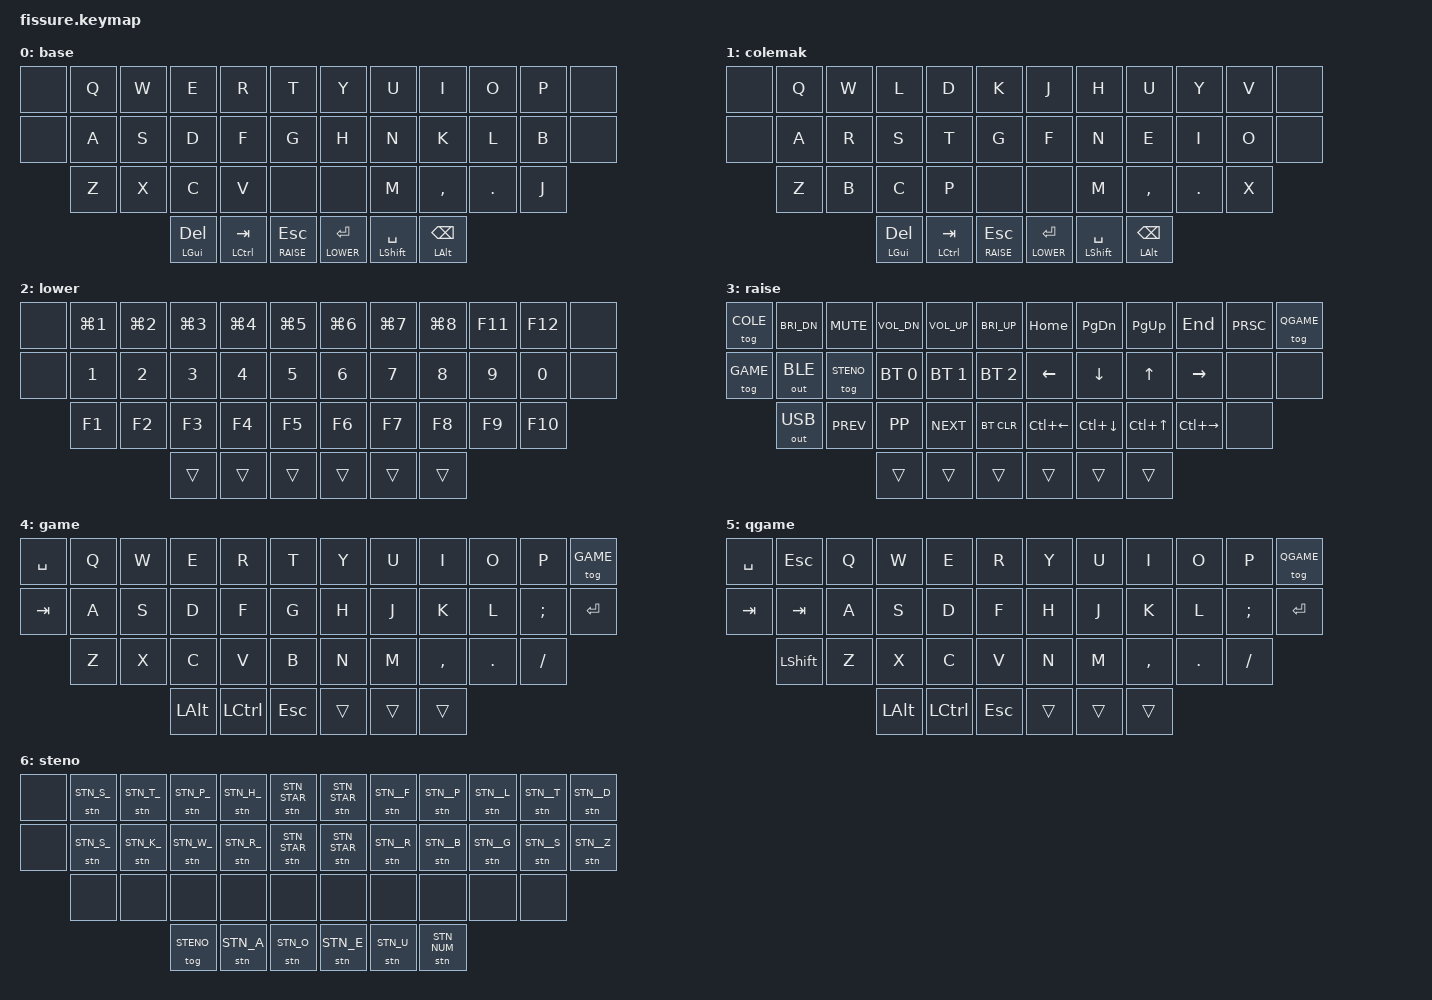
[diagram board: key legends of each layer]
/*
 * Copyright (c) 2020 The ZMK Contributors
 *
 * SPDX-License-Identifier: MIT
 */

#include <behaviors.dtsi>
#include <dt-bindings/zmk/keys.h>
#include <dt-bindings/zmk/modifiers.h>
#include <dt-bindings/zmk/bt.h>
#include <dt-bindings/zmk/outputs.h>
#include "../steno/impl/zmk/steno_keys.h"

/ {
    behaviors {
        // My Modtap
		mm: behavior_mod_tap {
			compatible = "zmk,behavior-hold-tap";
			label = "MOD_TAP";
			#binding-cells = <2>;
			flavor = "balanced";
			tapping-term-ms = <150>;
			bindings = <&kp>, <&kp>;
		};
        // My Layertap
		ml: behavior_layer_tap {
			compatible = "zmk,behavior-hold-tap";
			label = "LAYER_TAP";
			#binding-cells = <2>;
			flavor = "hold-preferred";
			tapping-term-ms = <150>;
			bindings = <&mo>, <&kp>;
		};
    };
    combos {
        compatible = "zmk,combos";
#define CONCAT2(x, y) x ## y
#define CONCAT(x, y) CONCAT2(x, y)
#define COMBO(pos, k) CONCAT(combo, __COUNTER__) { key-positions = <pos>; bindings = <&kp k>; layers = <0 1 2 3 4>; timeout-ms = <60>; };
        COMBO(1 2, PERCENT)
        COMBO(2 3, BSLH)
        COMBO(3 4, LBKT)
        COMBO(7 8, RBKT)
        COMBO(8 9, EQUAL)
        COMBO(9 10, PLUS)

        COMBO(13 14, CARET)
        COMBO(14 15, DOLLAR)
        COMBO(15 16, LPAR)
        COMBO(19 20, RPAR)
        COMBO(20 21, SEMI)
        COMBO(21 22, COLON)

        COMBO(24 25, EXCL)
        COMBO(25 26, AT)
        COMBO(26 27, LBRC)
        COMBO(30 31, RBRC)
        COMBO(31 32, FSLH)
        COMBO(32 33, QMARK)

        COMBO(2 14, GRAVE)
        COMBO(3 15, AMPS)
        COMBO(4 16, STAR)
        COMBO(7 19, UNDER)
        COMBO(8 20, DQT)
        COMBO(9 21, SQT)

        COMBO(14 25, TILDE)
        COMBO(15 26, PIPE)
        COMBO(16 27, HASH)
        COMBO(19 30, MINUS)
        COMBO(20 31, LT)
        COMBO(21 32, GT)
    };
#define BASE 0
#define COLE 1
#define LOWER 2
#define RAISE 3
#define GAME  4
#define QGAME 5
#define STENO 6

    keymap0: keymap {
        compatible = "zmk,keymap";
        base {
            bindings = <
&none     &kp Q        &kp W       &kp E        &kp R         &kp T         &kp Y         &kp U         &kp I        &kp O         &kp P       &none
&none     &kp A        &kp S       &kp D        &kp F         &kp G         &kp H         &kp N         &kp K        &kp L         &kp B       &none
          &kp Z        &kp X       &kp C        &kp V         &none         &none         &kp M         &kp COMMA    &kp DOT       &kp J
                                   &mm LGUI DEL &mm LCTRL TAB &ml RAISE ESC &ml LOWER RET &mm LSHFT SPC &mm LALT BSPC
            >;
        };
        colemak {
            bindings = <
&none     &kp Q        &kp W       &kp L        &kp D         &kp K         &kp J         &kp H         &kp U        &kp Y         &kp V       &none
&none     &kp A        &kp R       &kp S        &kp T         &kp G         &kp F         &kp N         &kp E        &kp I         &kp O       &none
          &kp Z        &kp B       &kp C        &kp P         &none         &none         &kp M         &kp COMMA    &kp DOT       &kp X
                                   &mm LGUI DEL &mm LCTRL TAB &ml RAISE ESC &ml LOWER RET &mm LSHFT SPC &mm LALT BSPC
            >;
        };
        lower {
            bindings = <
&none     &kp LG(N1)   &kp LG(N2)  &kp LG(N3)   &kp LG(N4)    &kp LG(N5)    &kp LG(N6)    &kp LG(N7)    &kp LG(N8)   &kp F11       &kp F12     &none
&none     &kp N1       &kp N2      &kp N3       &kp N4        &kp N5        &kp N6        &kp N7        &kp N8       &kp N9        &kp N0      &none
          &kp F1       &kp F2      &kp F3       &kp F4        &kp F5        &kp F6        &kp F7        &kp F8       &kp F9        &kp F10
                                   &trans       &trans        &trans        &trans        &trans        &trans
            >;
        };

        raise {
            bindings = <
&tog COLE &kp C_BRI_DN &kp C_MUTE  &kp C_VOL_DN &kp C_VOL_UP  &kp C_BRI_UP  &kp HOME      &kp PG_DN     &kp PG_UP    &kp END       &kp PRSC    &tog QGAME
&tog GAME &out OUT_BLE &tog STENO  &bt BT_SEL 0 &bt BT_SEL 1  &bt BT_SEL 2  &kp LEFT      &kp DOWN      &kp UP       &kp RIGHT     &none       &none
          &out OUT_USB &kp K_PREV  &kp K_PP     &kp K_NEXT    &bt BT_CLR    &kp LC(LEFT)  &kp LC(DOWN)  &kp LC(UP)   &kp LC(RIGHT) &none
                                   &trans       &trans        &trans        &trans        &trans        &trans
            >;
        };

        game {
            bindings = <
&kp SPC   &kp Q        &kp W       &kp E        &kp R         &kp T         &kp Y         &kp U         &kp I        &kp O         &kp P       &tog GAME
&kp TAB   &kp A        &kp S       &kp D        &kp F         &kp G         &kp H         &kp J         &kp K        &kp L         &kp SEMI    &kp RET
          &kp Z        &kp X       &kp C        &kp V         &kp B         &kp N         &kp M         &kp COMMA    &kp DOT       &kp FSLH
                                   &kp LALT     &kp LCTRL     &kp ESC       &trans        &trans        &trans
            >;
        };

        qgame {
            bindings = <
&kp SPC   &kp ESC      &kp Q        &kp W       &kp E        &kp R         &kp Y         &kp U         &kp I        &kp O         &kp P       &tog QGAME
&kp TAB   &kp TAB      &kp A        &kp S       &kp D        &kp F         &kp H         &kp J         &kp K        &kp L         &kp SEMI    &kp RET
          &kp LSHFT    &kp Z        &kp X       &kp C        &kp V         &kp N         &kp M         &kp COMMA    &kp DOT       &kp FSLH
                                   &kp LALT     &kp LCTRL     &kp ESC       &trans        &trans        &trans
            >;
        };

        steno {
            bindings = <
&none     &stn STN_S_  &stn STN_T_ &stn STN_P_  &stn STN_H_   &stn STN_STAR &stn STN_STAR &stn STN__F   &stn STN__P  &stn STN__L   &stn STN__T &stn STN__D
&none     &stn STN_S_  &stn STN_K_ &stn STN_W_  &stn STN_R_   &stn STN_STAR &stn STN_STAR &stn STN__R   &stn STN__B  &stn STN__G   &stn STN__S &stn STN__Z
          &none        &none       &none        &none         &none         &none         &none         &none        &none         &none
                                   &tog STENO   &stn STN_A    &stn STN_O    &stn STN_E    &stn STN_U    &stn STN_NUM
            >;
        };
    };
};
